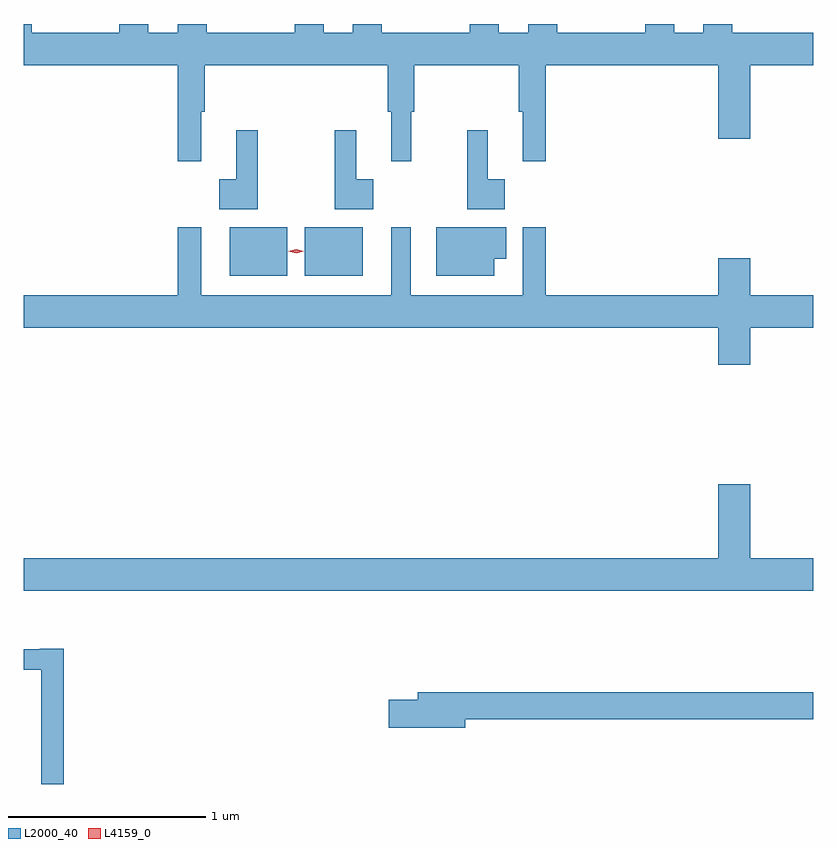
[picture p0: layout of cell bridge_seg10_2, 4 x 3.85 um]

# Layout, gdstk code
import gdstk
lib = gdstk.Library(unit=1e-6, precision=1e-09)
def R(c, l, rs):  # rectangles x0, y0, x1, y1
    for r in rs: c.add(gdstk.rectangle(r[:2], r[2:], *l))
def P(c, l, *ps):  # polygons
    for p in ps: c.add(gdstk.Polygon(p, *l))
L2000_40 = (2000, 40)
L4159_0 = (4159, 0)

bridge_seg10_2 = lib.new_cell('bridge_seg10_2')
R(bridge_seg10_2, L2000_40, [(1097.597,1261.952,1097.89,1262.197), (1097.978,1261.952,1098.271,1262.197)])
P(bridge_seg10_2, L2000_40, [(1097.453,1262.784),(1097.471,1262.784),(1097.471,1263.02),(1098.397,1263.02),(1098.397,1262.784),(1098.416,1262.784),(1098.416,1262.532),(1098.518,1262.532),(1098.518,1262.784),(1098.533,1262.784),(1098.533,1263.02),(1099.063,1263.02),(1099.063,1262.784),(1099.082,1262.784),(1099.082,1262.532),(1099.199,1262.532),(1099.199,1263.02),(1100.072,1263.02),(1100.072,1262.646),(1100.236,1262.646),(1100.236,1263.02),(1100.554,1263.02),(1100.554,1263.184),(1100.145,1263.184),(1100.145,1263.228),(1099.997,1263.228),(1099.997,1263.184),(1099.849,1263.184),(1099.849,1263.228),(1099.702,1263.228),(1099.702,1263.184),(1099.257,1263.184),(1099.257,1263.228),(1099.109,1263.228),(1099.109,1263.184),(1098.961,1263.184),(1098.961,1263.228),(1098.814,1263.228),(1098.814,1263.184),(1098.369,1263.184),(1098.369,1263.228),(1098.221,1263.228),(1098.221,1263.184),(1098.073,1263.184),(1098.073,1263.228),(1097.926,1263.228),(1097.926,1263.184),(1097.481,1263.184),(1097.481,1263.228),(1097.333,1263.228),(1097.333,1263.184),(1097.185,1263.184),(1097.185,1263.228),(1097.038,1263.228),(1097.038,1263.184),(1096.593,1263.184),(1096.593,1263.228),(1096.554,1263.228),(1096.554,1263.02),(1097.335,1263.02),(1097.335,1262.532),(1097.453,1262.532)],
  [(1098.991,1262.441),(1098.905,1262.441),(1098.905,1262.689),(1098.802,1262.689),(1098.802,1262.288),(1098.991,1262.288)],
  [(1098.325,1262.441),(1098.239,1262.441),(1098.239,1262.689),(1098.129,1262.689),(1098.129,1262.288),(1098.325,1262.288)],
  [(1097.74,1262.689),(1097.63,1262.689),(1097.63,1262.441),(1097.544,1262.441),(1097.544,1262.288),(1097.74,1262.288)],
  [(1098.937,1262.039),(1098.998,1262.039),(1098.998,1262.197),(1098.644,1262.197),(1098.644,1261.952),(1098.937,1261.952)],
  [(1100.236,1261.688),(1100.554,1261.688),(1100.554,1261.852),(1100.236,1261.852),(1100.236,1262.041),(1100.072,1262.041),(1100.072,1261.852),(1099.199,1261.852),(1099.199,1262.197),(1099.083,1262.197),(1099.083,1261.852),(1098.514,1261.852),(1098.514,1262.197),(1098.416,1262.197),(1098.416,1261.852),(1097.452,1261.852),(1097.452,1262.197),(1097.335,1262.197),(1097.335,1261.852),(1096.554,1261.852),(1096.554,1261.688),(1100.072,1261.688),(1100.072,1261.5),(1100.236,1261.5)],
  [(1100.554,1260.52),(1100.236,1260.52),(1100.236,1260.895),(1100.072,1260.895),(1100.072,1260.52),(1096.554,1260.52),(1096.554,1260.356),(1100.554,1260.356)],
  [(1096.757,1260.061),(1096.634,1260.061),(1096.634,1260.058),(1096.554,1260.058),(1096.554,1259.954),(1096.641,1259.954),(1096.641,1259.376),(1096.757,1259.376)],
  [(1098.79,1259.704),(1100.554,1259.704),(1100.554,1259.84),(1098.551,1259.84),(1098.551,1259.804),(1098.402,1259.804),(1098.402,1259.662),(1098.79,1259.662)])
P(bridge_seg10_2, L4159_0, [(1097.934,1262.066),(1097.895,1262.076),(1097.894,1262.076),(1097.895,1262.076),(1097.934,1262.086),(1097.973,1262.076),(1097.973,1262.076),(1097.973,1262.076)])

lib.write_gds('bridge_seg10_2.gds')
